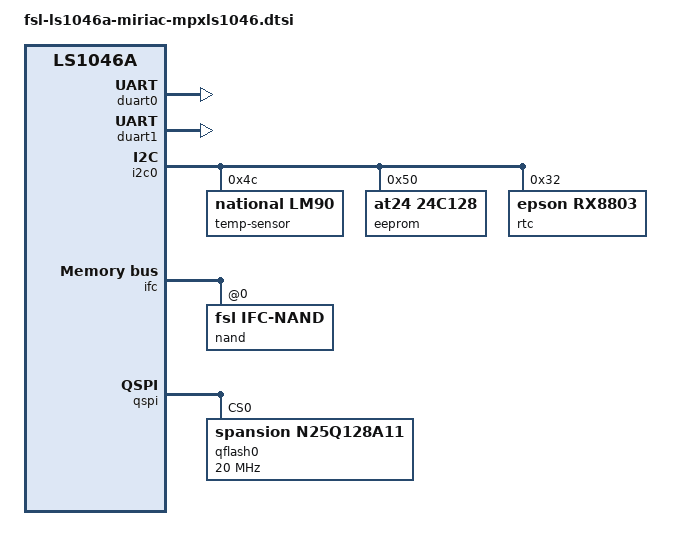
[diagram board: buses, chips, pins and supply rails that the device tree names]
// SPDX-License-Identifier: (GPL-2.0+ OR MIT)

/ {
	compatible = "microsys,mpxls1046a", "fsl,ls1046a";
};

&duart0 {
	status = "okay";
};

&duart1 {
	status = "okay";
};

&i2c0 {
	status = "okay";

	temp-sensor@4c {
		compatible = "national,lm90";
		reg = <0x4c>;
	};

	eeprom@50 {
		compatible = "at24,24c128";
		reg = <0x50>;
	};

	rtc@32 {
		compatible = "epson,rx8803";
		reg = <0x32>;
	};
};

&ifc {
	#address-cells = <2>;
	#size-cells = <1>;

	ranges = <0x0 0x0 0x0 0x7e800000 0x00010000>;
	status = "okay";

	nand@0,0 {
		compatible = "fsl,ifc-nand";
		#address-cells = <1>;
		#size-cells = <1>;
		reg = <0x0 0x0 0x10000>;
	};
};

&qspi {
	num-cs = <1>;
	bus-num = <0>;
	status = "okay";

	qflash0: s25fsparx512s@0 {
		compatible = "spansion,n25q128a11", "jedec,spi-nor";
		#address-cells = <1>;
		#size-cells = <1>;
		spi-max-frequency = <20000000>;
		m25p,fast-read;
		reg = <0>;
	};
};
